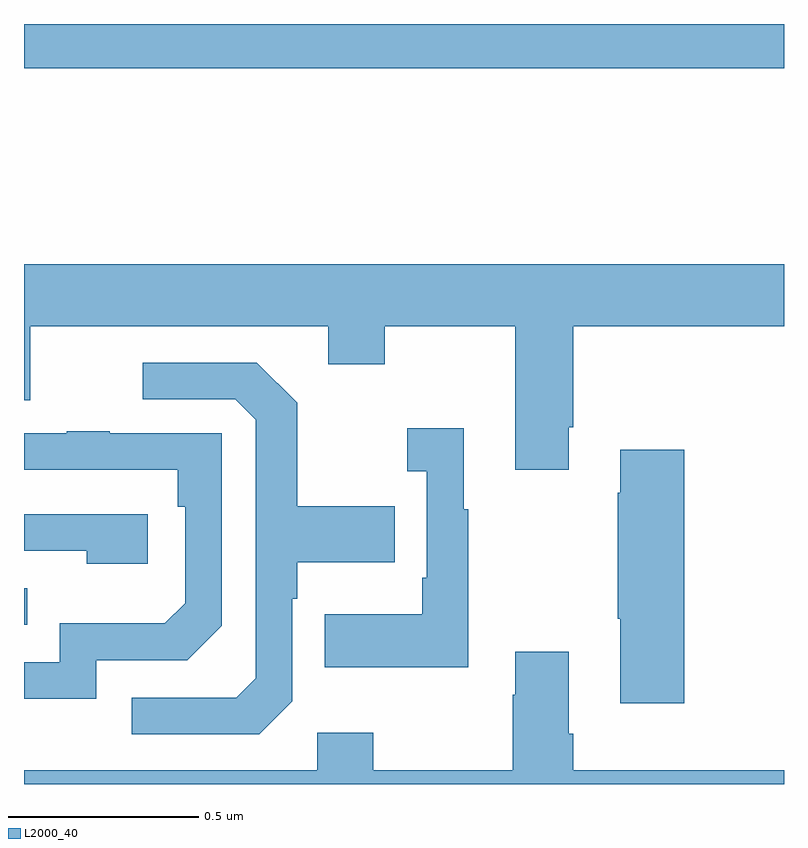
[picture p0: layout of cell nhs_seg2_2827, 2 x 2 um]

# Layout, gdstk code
import gdstk
lib = gdstk.Library(unit=1e-6, precision=1e-09)
def R(c, l, rs):  # rectangles x0, y0, x1, y1
    for r in rs: c.add(gdstk.rectangle(r[:2], r[2:], *l))
def P(c, l, *ps):  # polygons
    for p in ps: c.add(gdstk.Polygon(p, *l))
L2000_40 = (2000, 40)

nhs_seg2_2827 = lib.new_cell('nhs_seg2_2827')
R(nhs_seg2_2827, L2000_40, [(146,612.219,146.009,612.315), (146,613.684,148,613.8)])
P(nhs_seg2_2827, L2000_40, [(147.433,612.739),(147.446,612.739),(147.446,613.004),(148,613.004),(148,613.168),(146,613.168),(146,612.81),(146.017,612.81),(146.017,613.004),(146.801,613.004),(146.801,612.905),(146.949,612.905),(146.949,613.004),(147.293,613.004),(147.293,612.627),(147.433,612.627)],
  [(146.706,612.018),(146.706,612.287),(146.719,612.287),(146.719,612.383),(146.975,612.383),(146.975,612.531),(146.719,612.531),(146.719,612.803),(146.613,612.909),(146.313,612.909),(146.313,612.813),(146.556,612.813),(146.61,612.759),(146.61,612.078),(146.559,612.027),(146.283,612.027),(146.283,611.931),(146.619,611.931)],
  [(147.169,612.523),(147.157,612.523),(147.157,612.736),(147.009,612.736),(147.009,612.623),(147.06,612.623),(147.06,612.343),(147.048,612.343),(147.048,612.247),(146.791,612.247),(146.791,612.107),(147.169,612.107)],
  [(146.19,612.126),(146.43,612.126),(146.52,612.216),(146.52,612.723),(146.225,612.723),(146.225,612.728),(146.113,612.728),(146.113,612.723),(146,612.723),(146,612.627),(146.404,612.627),(146.404,612.53),(146.424,612.53),(146.424,612.276),(146.371,612.223),(146.094,612.223),(146.094,612.12),(146,612.12),(146,612.024),(146.19,612.024)],
  [(147.737,612.679),(147.569,612.679),(147.569,612.566),(147.562,612.566),(147.562,612.235),(147.569,612.235),(147.569,612.012),(147.737,612.012)],
  [(146.326,612.51),(146,612.51),(146,612.414),(146.165,612.414),(146.165,612.38),(146.326,612.38)],
  [(148,611.836),(147.446,611.836),(147.446,611.932),(147.433,611.932),(147.433,612.148),(147.293,612.148),(147.293,612.035),(147.286,612.035),(147.286,611.836),(146.919,611.836),(146.919,611.935),(146.772,611.935),(146.772,611.836),(146,611.836),(146,611.8),(148,611.8)])

lib.write_gds('nhs_seg2_2827.gds')
